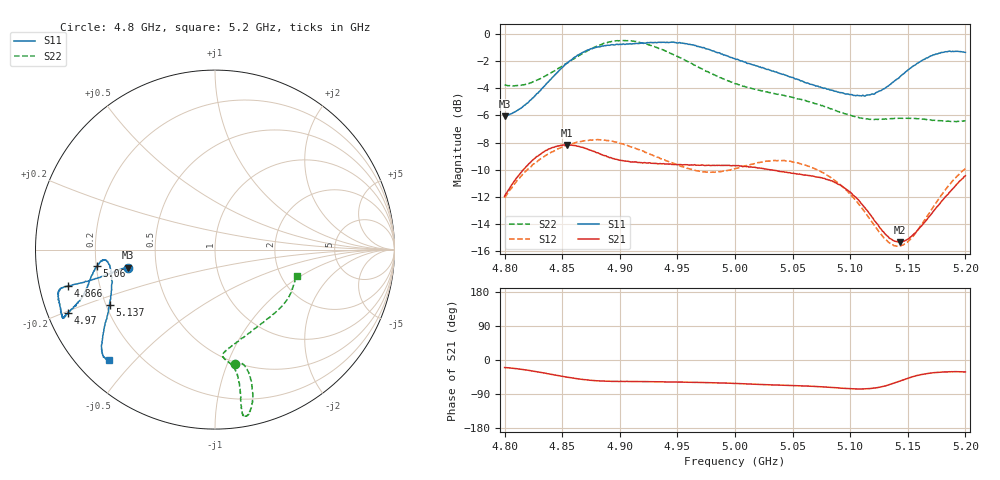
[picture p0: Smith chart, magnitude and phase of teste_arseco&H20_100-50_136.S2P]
! Network Analyzer HP8722D
! Hewlett-Packard
! Data name: Linha & Wilkinson
! Saver's name: Rodrigo Anjos
! Comments: Teste da utilização de aquisição
! continua pelo VNA HP8722D
! Time and date: 6/5/2025 13:42
!  Frequency  S11  S21  S12  S22
# HZ  S  MA R 50
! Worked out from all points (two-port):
!   401 points, 4.8 GHz to 5.2 GHz, reference 50 ohm
!   highest |S21| = -8.17 dB at 4.854 GHz (marker M1); lowest = -15.3 dB at 5.143 GHz (marker M2)
!   |S21| within 3 dB of the highest: 4.806 GHz to 5.092 GHz (286.7 MHz wide, 5.79 % of centre); 5.191353 GHz to end of sweep
!   lowest |S11| = -6.1 dB at 4.8 GHz (marker M3), VSWR 2.98, Z = 16.9 - j4.53 ohm
!   |S11| at or under -10 dB: nowhere
!   |S22| runs from -6.5 to -0.5 dB; largest |S21 - S12| = 0.62
!   S11 on the Smith chart (normalised r, x): 4.8 GHz: 0.34, -0.09; 4.866 GHz: 0.09, -0.12; 4.97 GHz: 0.06, -0.21; 5.06 GHz: 0.20, -0.07; 5.137 GHz: 0.21, -0.23; 5.2 GHz: 0.09, -0.42
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4.8e9  0.4978 -168.3  0.2528 -19.9  0.2497 -141.1  0.6482 -80.3
4.826e9  0.589 -167.4  0.3478 -29.9  0.3334 -144.9  0.669 -75.7
4.854e9  0.778 -166.1  0.3903 -45.3  0.3888 -150.1  0.7786 -74.8
4.866e9  0.8449 -166.1  0.3833 -50.6  0.4013 -152.2  0.8369 -75.4
4.867e9  0.8493 -166.0  0.3828 -51.0  0.4024 -152.2  0.8431 -75.5
4.899e9  0.912 -163.1  0.3434 -56.7  0.3976 -156.9  0.9414 -79.2
4.914e9  0.9204 -159.9  0.338 -56.7  0.3784 -157.3  0.9363 -80.3
4.934e9  0.9296 -156.7  0.3327 -57.6  0.3507 -155.7  0.8817 -80.5
4.97e9  0.8929 -156.6  0.3287 -59.3  0.3121 -147.1  0.7462 -79.7
5e9  0.8084 -159.2  0.3276 -62.0  0.3195 -137.4  0.6552 -81.3
5.038e9  0.7167 -166.4  0.3123 -66.2  0.3424 -134.6  0.5991 -85.8
5.06e9  0.6649 -171.9  0.3024 -68.4  0.33 -136.3  0.5686 -84.4
5.067e9  0.6501 -173.2  0.3004 -69.4  0.322 -137.0  0.5583 -82.7
5.087e9  0.6141 -174.7  0.2835 -73.2  0.2884 -138.7  0.5227 -74.7
5.102e9  0.5959 -171.9  0.2565 -76.1  0.252 -138.8  0.4979 -65.9
5.115e9  0.5952 -166.1  0.2234 -76.0  0.2145 -135.9  0.4867 -56.4
5.134e9  0.6475 -154.4  0.1773 -64.9  0.1705 -120.5  0.4868 -43.3
5.137e9  0.6624 -152.4  0.1742 -62.1  0.1676 -116.6  0.4875 -41.4
5.143e9  0.6934 -149.3  0.1712 -55.5  0.1662 -108.7  0.4889 -38.0
5.154e9  0.7568 -144.6  0.1814 -44.3  0.1793 -95.0  0.4884 -32.3
5.172e9  0.8356 -139.1  0.2221 -33.6  0.2307 -81.2  0.4806 -24.5
5.2e9  0.8535 -133.8  0.3008 -31.5  0.3195 -77.1  0.4775 -17.6
